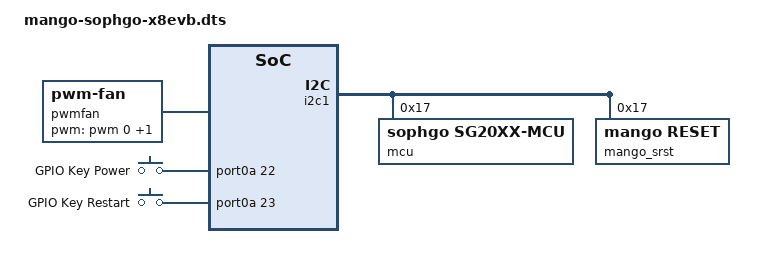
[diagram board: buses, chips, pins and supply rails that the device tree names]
#include "mango.dtsi"
#include "mango-pcie-3rc.dtsi"

/ {
	info {
		file-name = "mango-sophgo-x8evb.dts";
	};
};

&i2c1 {
	mcu: sg2042mcu@17 {
		compatible = "sophgo,sg20xx-mcu";
		reg = <0x17>;
		#thermal-sensor-cells = <1>;
	};

	mango_srst: mango-reset@17 {
		compatible = "mango,reset";
		reg = <0x17>;
	};
};

&i2c2 {
	pinctrl-names = "default";
	pinctrl-0 = <&i2c2_acquire>;
};

&soc {
	gpio-poweroff {
		compatible = "gpio-keys";
		input-name = "gpio-keys";
		pinctrl-names = "default";
		pinctrl-0 = <&pwr_key>;

		power {
			label = "GPIO Key Power";
			linux,code = <KEY_POWER>;
			gpios = <&port0a 22 GPIO_ACTIVE_HIGH>;
			linux,input-type = <1>;
			debounce-interval = <100>;
		};
	};

	gpio-restart {
		compatible = "gpio-keys";
		input-name = "gpio-keys";
		pinctrl-names = "default";
		pinctrl-0 = <&restart_key>;

		restart {
			label = "GPIO Key Restart";
			linux,code = <KEY_RESTART>;
			gpios = <&port0a 23 GPIO_ACTIVE_HIGH>;
			linux,input-type = <1>;
			debounce-interval = <100>;
		};
	};
};

&tach0 {
	pinctrl-names = "default";
	pinctrl-0 = <&fan0_acquire>;
};

&tach1 {
	pinctrl-names = "default";
	pinctrl-0 = <&fan1_acquire>;
};

&ethernet0 {
	max-speed = <1000>;
	eth-sophgo-config {
		autoneg = "enable";
	};
};

/ {
	pwmfan: pwm-fan {
		compatible = "pwm-fan";
		pwms = <&pwm 0 40000>, <&pwm 1 40000>; // period_ns
		pwm-names = "pwm0","pwm1";
		pwm_inuse = "pwm0";
		#cooling-cells = <2>;
		cooling-levels = <153 128 77 26 1>;  //total 255
	};

	thermal_zones: thermal-zones {
		soc {
			polling-delay-passive = <1000>; /* milliseconds */
			polling-delay = <1000>; /* milliseconds */
			thermal-sensors = <&mcu 0>;

			trips {
				soc_pwmfan_trip1: soc_pwmfan_trip@1 {
					temperature = <40000>; /* millicelsius */
					hysteresis = <8000>; /* millicelsius */
					type = "active";
				};

				soc_pwmfan_trip2: soc_pwmfan_trip@2 {
					temperature = <58000>; /* millicelsius */
					hysteresis = <12000>; /* millicelsius */
					type = "active";
				};

				soc_pwmfan_trip3: soc_pwmfan_trip@3 {
					temperature = <70000>; /* millicelsius */
					hysteresis = <10000>; /* millicelsius */
					type = "active";
				};

				soc_pwmfan_trip4: soc_pwmfan_trip@4 {
					temperature = <85000>; /* millicelsius */
					hysteresis = <5000>; /* millicelsius */
					type = "active";
				};
			};

			cooling-maps {
				map0 {
					trip = <&soc_pwmfan_trip1>;
					cooling-device = <&pwmfan 0 1>;
				};

				map1 {
					trip = <&soc_pwmfan_trip2>;
					cooling-device = <&pwmfan 1 2>;
				};

				map2 {
					trip = <&soc_pwmfan_trip3>;
					cooling-device = <&pwmfan 2 3>;
				};

				map3 {
					trip = <&soc_pwmfan_trip4>;
					cooling-device = <&pwmfan 3 4>;
				};
			};

		};

		board {
			polling-delay-passive = <1000>; /* milliseconds */
			polling-delay = <1000>; /* milliseconds */
			thermal-sensors = <&mcu 1>;

			trips {
				board_pwmfan_trip1: board_pwmfan_trip@1 {
					temperature = <75000>; /* millicelsius */
					hysteresis = <8000>; /* millicelsius */
					type = "active";
				};
			};

			cooling-maps {
				map4 {
					trip = <&board_pwmfan_trip1>;
					cooling-device = <&pwmfan 3 4>;
				};
			};
		};
	};

};
